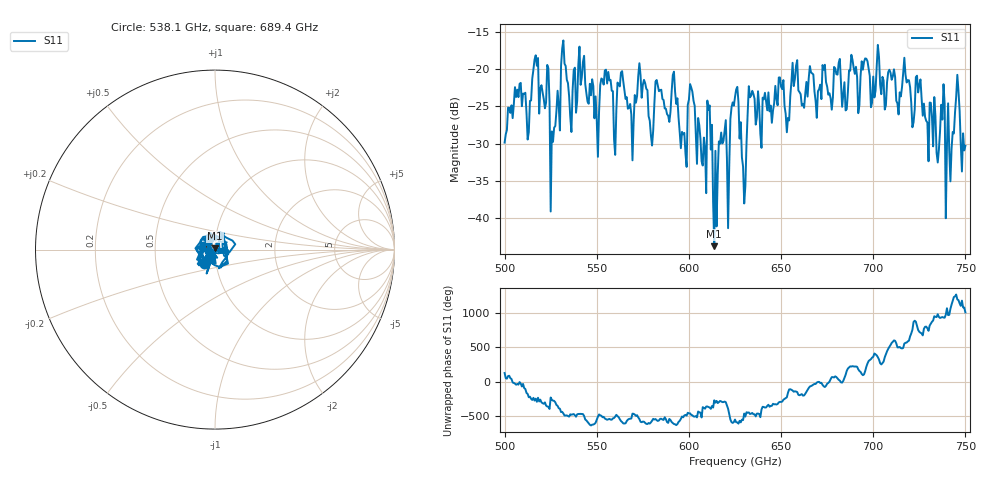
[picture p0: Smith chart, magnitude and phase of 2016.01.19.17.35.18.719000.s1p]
!Created with skrf (http://scikit-rf.org).
# GHz S RI R 50.0
!freq ReS11 ImS11
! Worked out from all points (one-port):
!   401 points, 500 GHz to 750 GHz, reference 50 ohm
!   lowest |S11| = -43.7 dB at 613.8 GHz (marker M1), VSWR 1.01, Z = 50 + j0.652 ohm
!   |S11| at or under -10 dB: start of sweep to end of sweep
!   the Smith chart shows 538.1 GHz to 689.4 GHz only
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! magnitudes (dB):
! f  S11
! 500 GHz  -29.9
! 513.1 GHz  -28.4
! 516.9 GHz  -18.2
! 526.2 GHz  -29.8
! 531.2 GHz  -17.2
! 550 GHz  -26.9
! 562.5 GHz  -22.3
! 568.8 GHz  -26.1
! 573.8 GHz  -20.8
! 579.4 GHz  -28.9
! 583.1 GHz  -22.3
! 593.8 GHz  -23.9
! 597.5 GHz  -28.6
! 601.9 GHz  -23.0
! 608.1 GHz  -29.2
! 611.2 GHz  -24.9
! 613.8 GHz  -43.7
! 625 GHz  -23.8
! 630 GHz  -38.0
! 633.8 GHz  -23.6
! 656.2 GHz  -19.2
! 687.5 GHz  -20.2
! 718.8 GHz  -21.5
! 735 GHz  -32.5
! 737.5 GHz  -26.8
! 740.6 GHz  -24.6
! 745.6 GHz  -20.8
! 750 GHz  -30.3
